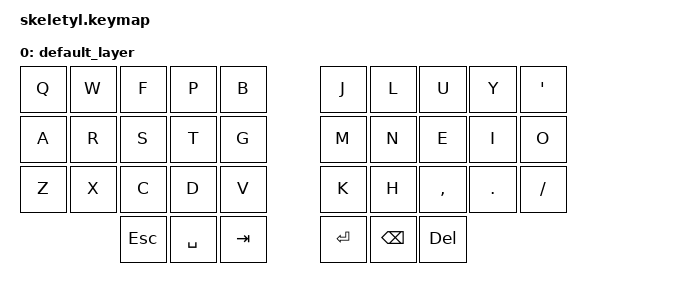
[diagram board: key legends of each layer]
#include <behaviors.dtsi>
#include <dt-bindings/zmk/keys.h>

/ {
    keymap {
        compatible = "zmk,keymap";

		default_layer {
// ---------------------------------------------------------------------------------------------------------------------------------
// |  Q  |  W  |  F   |  P   |  B   |    |  J   |  L   |  U  |  Y  |  '  |
// |  A  |  R  |  S   |  T   |  G   |    |  M   |  N   |  E  |  I  |  O  |
// |  Z  |  X  |  C   |  D   |  V   |    |  K   |  H   |  ,  |  .  |  /  |
//             | ESC  | SPC  | TAB  |    | RET  | BSPC | DEL |
			bindings = <
	&kp Q &kp W &kp F   &kp P   &kp B          &kp J    &kp L    &kp U     &kp Y   &kp SQT
	&kp A &kp R &kp S   &kp T   &kp G          &kp M    &kp N    &kp E     &kp I   &kp O
	&kp Z &kp X &kp C   &kp D   &kp V          &kp K    &kp H    &kp COMMA &kp DOT &kp FSLH
	            &kp ESC &kp SPC &kp TAB        &kp RET  &kp BSPC &kp DEL
			>;
		};
	};
};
